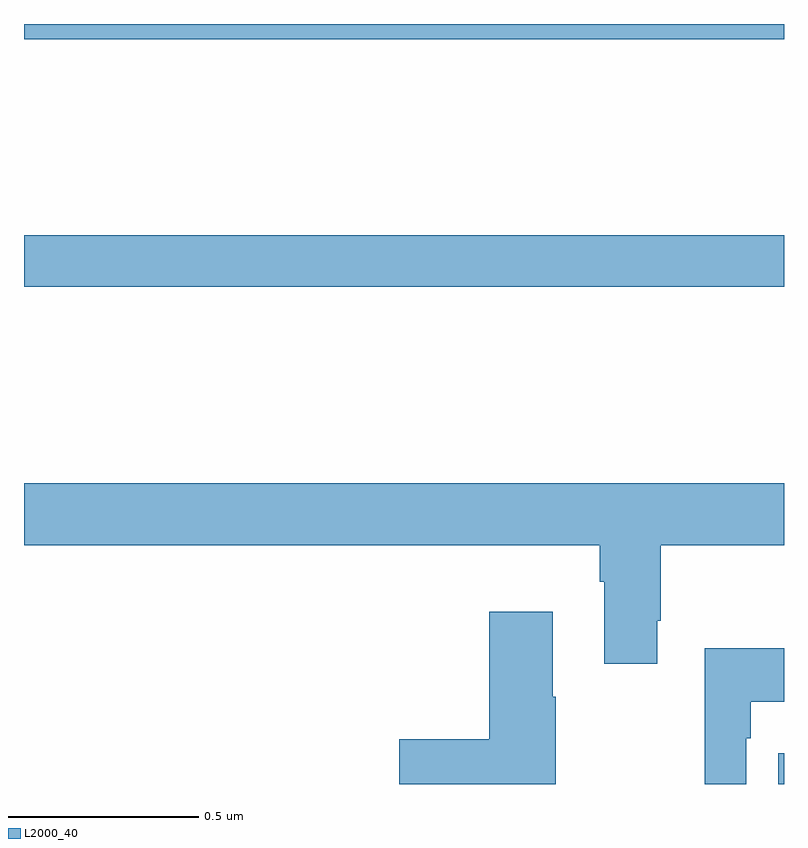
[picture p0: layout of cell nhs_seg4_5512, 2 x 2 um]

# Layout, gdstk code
import gdstk
lib = gdstk.Library(unit=1e-6, precision=1e-09)
def R(c, l, rs):  # rectangles x0, y0, x1, y1
    for r in rs: c.add(gdstk.rectangle(r[:2], r[2:], *l))
def P(c, l, *ps):  # polygons
    for p in ps: c.add(gdstk.Polygon(p, *l))
L2000_40 = (2000, 40)

nhs_seg4_5512 = lib.new_cell('nhs_seg4_5512')
R(nhs_seg4_5512, L2000_40, [(180.985,754.9,181,754.981), (179,756.208,181,756.344), (179,756.86,181,756.9)])
P(nhs_seg4_5512, L2000_40, [(180.667,755.329),(180.675,755.329),(180.675,755.528),(181,755.528),(181,755.692),(179,755.692),(179,755.528),(180.515,755.528),(180.515,755.432),(180.527,755.432),(180.527,755.217),(180.667,755.217)],
  [(180.399,755.129),(180.391,755.129),(180.391,755.353),(180.224,755.353),(180.224,755.018),(179.988,755.018),(179.988,754.9),(180.399,754.9)],
  [(180.9,755.021),(180.913,755.021),(180.913,755.117),(181,755.117),(181,755.257),(180.792,755.257),(180.792,754.9),(180.9,754.9)])

lib.write_gds('nhs_seg4_5512.gds')
